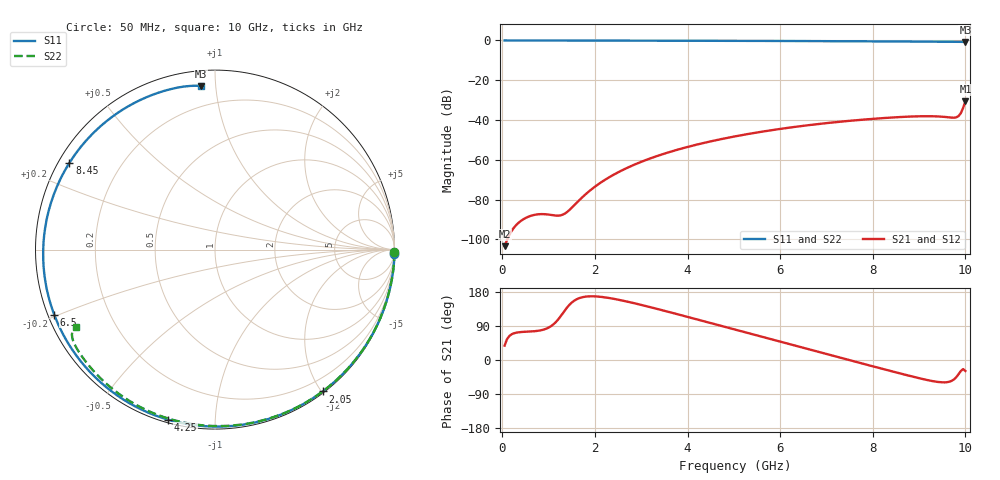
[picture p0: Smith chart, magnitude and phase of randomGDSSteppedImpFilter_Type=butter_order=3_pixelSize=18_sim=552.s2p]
! freq	dB(S11)	phase(S11)	dB(S12)	phase(S12)
!  dB(S21)	phase(S21)	dB(S22)	phase(S22)
!S-par simulation data
#  GHz  S  DB  R 50
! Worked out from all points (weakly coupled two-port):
!   200 points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, 50 MHz to 10 GHz, reference 50 ohm
!   highest |S21| = -30.50 dB at 10 GHz (marker M1); lowest = -103.4 dB at 50 MHz (marker M2)
!   lowest |S11| = -0.8 dB at 10 GHz (marker M3), VSWR 22.53, Z = 4.09 + j45.8 ohm
!   |S11| at or under -10 dB: nowhere
!   |S22| runs from -1.0 to 0.0 dB; largest |S21 - S12| = 0
!   S11 on the Smith chart (normalised r, x): 50 MHz: 0, -87; 2.05 GHz: 0.02, -2.02; 4.25 GHz: 0.01, -0.76; 6.5 GHz: 0.02, -0.19; 8.45 GHz: 0.03, +0.27; 10 GHz: 0.08, +0.92
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0.05  -0.00 -1.3  -103.40 38.0  -103.40 38.0  -0.00 -0.9
0.8  -0.02 -21.0  -87.33 77.6  -87.33 77.6  -0.02 -13.7
1.65  -0.05 -42.7  -80.56 162.6  -80.56 162.6  -0.04 -28.0
1.75  -0.06 -45.2  -78.33 166.2  -78.33 166.2  -0.04 -29.7
2.05  -0.07 -52.8  -72.66 167.6  -72.66 167.6  -0.04 -34.6
2.35  -0.08 -60.2  -68.19 162.7  -68.19 162.7  -0.05 -39.5
2.65  -0.09 -67.5  -64.55 155.4  -64.55 155.4  -0.06 -44.4
3.4  -0.11 -85.5  -57.64 133.1  -57.64 133.1  -0.07 -56.3
4.25  -0.15 -105.4  -52.07 105.7  -52.07 105.7  -0.10 -69.4
5.05  -0.19 -123.9  -48.11 79.5  -48.11 79.5  -0.12 -81.2
5.8  -0.24 -141.3  -45.15 54.9  -45.15 54.9  -0.16 -92.0
6.5  -0.30 -158.0  -42.90 32.0  -42.90 32.0  -0.19 -101.8
6.7  -0.31 -162.9  -42.34 25.5  -42.34 25.5  -0.20 -104.5
7.55  -0.40 175.1  -40.28 -2.2  -40.28 -2.2  -0.26 -116.0
8.35  -0.49 152.3  -38.83 -27.9  -38.83 -27.9  -0.32 -126.7
8.45  -0.50 149.2  -38.68 -31.0  -38.68 -31.0  -0.33 -128.0
9.1  -0.58 128.2  -38.07 -50.8  -38.07 -50.8  -0.40 -136.8
9.8  -0.67 102.7  -38.68 -45.8  -38.68 -45.8  -0.54 -147.3
9.85  -0.68 100.7  -38.07 -38.0  -38.07 -38.0  -0.59 -148.3
9.9  -0.70 98.7  -36.58 -29.2  -36.58 -29.2  -0.66 -149.4
9.95  -0.73 96.7  -33.96 -24.0  -33.96 -24.0  -0.80 -150.4
10  -0.77 94.8  -30.50 -29.0  -30.50 -29.0  -1.03 -150.9
